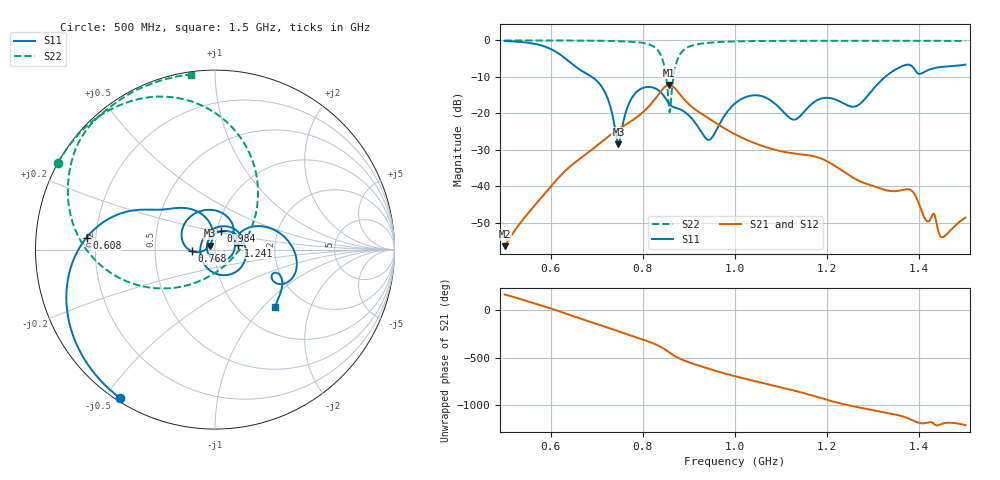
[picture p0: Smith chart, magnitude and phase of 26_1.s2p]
! TOUCHSTONE file generated by CST MICROWAVE STUDIO
! Date and time: Fri Oct  2 18:37:39 2020
! Project name: Scenario_1_Free_Space_out_of_line.cst
! Parameters = {Lambda=346.42; Step_1=17.321; dy1=-85.885; dx1=173; L_HA=400; MT=2.54; Rad_Dielectric=30; Rad_Lower=7.3; Rad_Upper=30; a_HA=580; a_WG=246; b_HA=500; b_WG=121; c_HA=0; c_WG=187; d_feed=85; h_feed=15; h_lower=18; h_upper=40}
! Header version: 2018
! Port assignment regex: !\s*Touchstone port\s*([0-9]+)\s*=\s*(CST MWS port|CST DS port)\s*([0-9]+|Zmin|Zmax)\s*\(\"(.*)\"\)(\s*mode\s*([0-9]+))?.*
! Touchstone port assignment:
! Touchstone port 1 = CST MWS port 1 ("")
! Touchstone port 2 = CST MWS port 2 ("")
# GHz S DB R 50
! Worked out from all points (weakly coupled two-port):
!   1003 points, 500 MHz to 1.5 GHz, reference 50 ohm
!   highest |S21| = -12.18 dB at 857 MHz (marker M1); lowest = -56.4 dB at 500 MHz (marker M2)
!   lowest |S11| = -28.5 dB at 747 MHz (marker M3), VSWR 1.08, Z = 47 + j2.08 ohm
!   |S11| at or under -10 dB: 689.5 MHz to 1.326 GHz (636.4 MHz wide, 63.2 % of centre)
!   |S22| runs from -19.7 to 0.0 dB; largest |S21 - S12| = 0.00023
!   S11 on the Smith chart (normalised r, x): 500 MHz: 0.01, -0.55; 608 MHz: 0.16, +0.05; 768 MHz: 0.77, -0.02; 984 MHz: 1.04, +0.22; 1.241 GHz: 1.30, +0.06; 1.5 GHz: 1.44, -1.19
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0.5  -0.16 -122.7  -56.42 168.3  -56.42 168.3  -0.01 151.1
0.565  -0.93 -156.0  -45.29 75.0  -45.30 75.1  -0.01 146.7
0.608  -2.87 174.7  -38.91 9.2  -38.91 9.2  -0.02 143.4
0.667  -8.32 144.7  -32.08 -89.7  -32.08 -89.7  -0.05 138.3
0.716  -13.79 109.4  -27.27 -167.9  -27.27 -167.9  -0.11 132.7
0.747  -28.48 144.0  -24.36 139.6  -24.36 139.6  -0.20 128.0
0.768  -17.86 -175.6  -22.68 104.2  -22.68 104.2  -0.31 123.8
0.834  -13.67 78.4  -14.82 -12.6  -14.82 -12.6  -2.93 84.7
0.857  -17.31 41.1  -12.18 -81.3  -12.18 -81.3  -18.76 -16.5
0.869  -18.38 29.4  -13.05 -120.1  -13.05 -120.1  -8.09 -146.9
0.892  -19.73 -9.4  -16.47 -173.2  -16.47 -173.2  -2.28 174.0
0.943  -27.27 -159.3  -21.38 104.2  -21.38 104.2  -0.66 150.5
0.984  -19.43 72.7  -24.62 46.1  -24.62 46.1  -0.32 142.6
1  -17.28 44.1  -25.73 25.6  -25.73 25.6  -0.26 140.3
1.078  -16.50 -72.4  -29.69 -67.4  -29.69 -67.4  -0.13 131.5
1.127  -21.71 176.3  -30.97 -124.4  -30.97 -124.4  -0.12 127.3
1.167  -17.36 73.3  -31.65 -176.8  -31.65 -176.8  -0.11 124.1
1.241  -17.61 10.2  -36.45 83.8  -36.45 83.8  -0.08 118.5
1.334  -9.18 18.5  -41.24 -6.7  -41.24 -6.7  -0.09 111.4
1.384  -7.06 -24.1  -41.26 -77.2  -41.26 -77.2  -0.09 107.5
1.449  -7.27 -31.4  -53.98 -117.6  -53.98 -117.6  -0.11 102.2
1.5  -6.63 -43.7  -48.60 -131.2  -48.67 -130.9  -0.14 97.7
